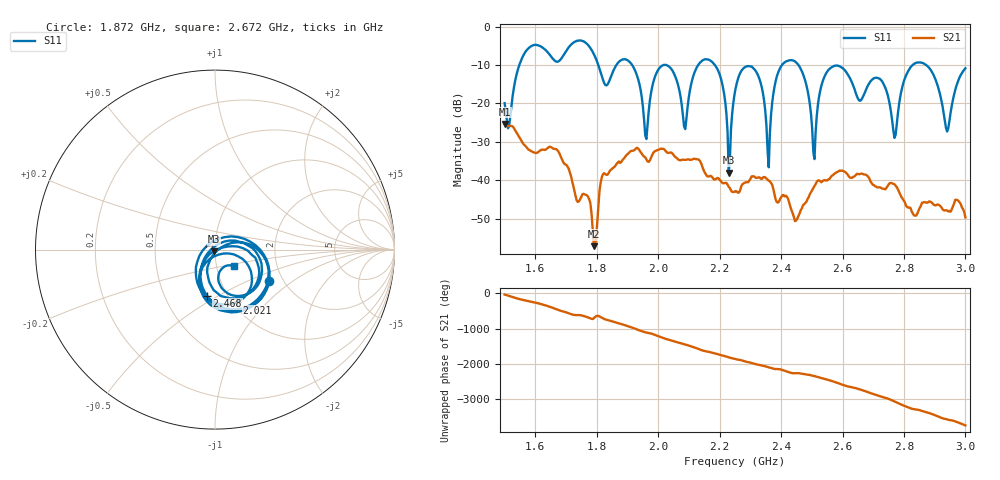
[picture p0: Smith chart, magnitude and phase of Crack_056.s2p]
# HZ S RI R 50
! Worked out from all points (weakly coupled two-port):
!   404 points, 1.5 GHz to 3 GHz, reference 50 ohm
!   highest |S21| = -25.35 dB at 1.5 GHz (marker M1); lowest = -57.2 dB at 1.79 GHz (marker M2)
!   lowest |S11| = -38.1 dB at 2.23 GHz (marker M3), VSWR 1.03, Z = 49.2 - j0.931 ohm
!   |S11| at or under -10 dB: 2.184 GHz to 2.403 GHz (218.5 MHz wide, 9.53 % of centre); 2.457 GHz to 2.828 GHz (371.6 MHz wide, 14.1 % of centre); 2.872 GHz to end of sweep (the widest 3 of 7)
!   S12 and S22 are empty: the file has one direction only
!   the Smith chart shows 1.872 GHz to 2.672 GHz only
!   S11 on the Smith chart (normalised r, x): 1.872 GHz: 1.69, -0.68; 2.021 GHz: 1.05, -0.68; 2.468 GHz: 0.80, -0.45; 2.672 GHz: 1.21, -0.22
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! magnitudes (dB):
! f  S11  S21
! 1.5 GHz  -19.9  -25.3
! 1.753 GHz  -3.7  -43.7
! 1.79 GHz  -7.1  -57.2
! 1.872 GHz  -9.1  -35.1
! 1.962 GHz  -29.3  -34.5
! 2.002 GHz  -10.9  -32.0
! 2.021 GHz  -10.0  -32.1
! 2.088 GHz  -26.7  -34.7
! 2.181 GHz  -9.7  -39.8
! 2.23 GHz  -38.1  -41.7
! 2.252 GHz  -16.1  -42.8
! 2.315 GHz  -11.3  -39.2
! 2.36 GHz  -36.6  -40.1
! 2.397 GHz  -10.8  -44.8
! 2.468 GHz  -11.6  -47.3
! 2.501 GHz  -26.6  -42.6
! 2.561 GHz  -10.8  -39.3
! 2.672 GHz  -17.2  -38.5
! 2.751 GHz  -19.0  -41.0
! 2.862 GHz  -9.5  -45.8
! 2.94 GHz  -27.3  -47.9
! 3 GHz  -10.8  -49.7
